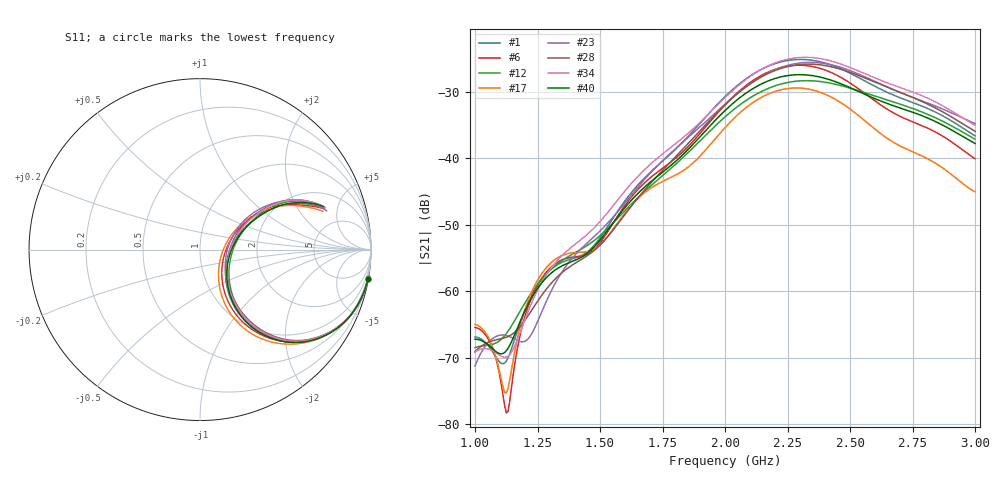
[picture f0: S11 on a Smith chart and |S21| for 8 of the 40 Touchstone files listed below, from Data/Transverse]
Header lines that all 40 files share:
! TOUCHSTONE file generated by CST MICROWAVE STUDIO
! Project name: transverse.cst
! Header version: 2024
! Port assignment regex: !\s*Touchstone port\s*([0-9]+)\s*=\s*(CST MWS port|CST DES external port|CST DES block port)\s*(.+)\s* \(\"(.*)\"\)(\s*mode\s*([0-9]+))?.*
! Touchstone port assignment:
! Touchstone port 1 = CST MWS port 1 ("")
! Touchstone port 2 = CST MWS port 2 ("")
# GHz S MA R 50
Fixed: D = 160, Feed = 2.85625, L = 100, R = 0.384908, Theta = 180, length = 57.125, wave = 114.25
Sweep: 1 GHz to 3 GHz
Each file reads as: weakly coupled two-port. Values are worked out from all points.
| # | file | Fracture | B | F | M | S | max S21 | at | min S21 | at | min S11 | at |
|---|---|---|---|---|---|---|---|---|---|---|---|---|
| 1 | transverse_161.s2p | 1 | 10 | 15 | 20 | 1 | -25.09 dB | 2.3 GHz | -70.9 dB | 1.112 GHz | -15.5 dB | 2.36 GHz |
| 2 | transverse_162.s2p | 5 | 10 | 15 | 20 | 1 | -25.09 dB | 2.303 GHz | -68.6 dB | 1.112 GHz | -15.5 dB | 2.362 GHz |
| 3 | transverse_163.s2p | 1 | 10 | 15 | 20 | 2 | -27.26 dB | 2.3 GHz | -69.1 dB | 1.099 GHz | -14.8 dB | 2.36 GHz |
| 4 | transverse_164.s2p | 5 | 10 | 15 | 20 | 2 | -27.25 dB | 2.3 GHz | -69.1 dB | 1.099 GHz | -14.8 dB | 2.36 GHz |
| 5 | transverse_165.s2p | 1 | 10 | 15 | 30 | 1 | -25.95 dB | 2.294 GHz | -80.1 dB | 1.125 GHz | -16.8 dB | 2.347 GHz |
| 6 | transverse_166.s2p | 5 | 10 | 15 | 30 | 1 | -25.97 dB | 2.294 GHz | -78.4 dB | 1.125 GHz | -16.7 dB | 2.353 GHz |
| 7 | transverse_167.s2p | 1 | 10 | 15 | 30 | 2 | -27.81 dB | 2.281 GHz | -76.4 dB | 1.119 GHz | -16.5 dB | 2.34 GHz |
| 8 | transverse_168.s2p | 5 | 10 | 15 | 30 | 2 | -27.80 dB | 2.281 GHz | -76.1 dB | 1.119 GHz | -16.5 dB | 2.34 GHz |
| 9 | transverse_169.s2p | 1 | 10 | 25 | 10 | 1 | -27.09 dB | 2.294 GHz | -69.2 dB | 1.073 GHz | -14.9 dB | 2.36 GHz |
| 10 | transverse_170.s2p | 5 | 10 | 25 | 10 | 1 | -27.06 dB | 2.296 GHz | -68.9 dB | 1 GHz | -14.9 dB | 2.362 GHz |
| 11 | transverse_171.s2p | 1 | 10 | 25 | 10 | 2 | -28.33 dB | 2.327 GHz | -68.6 dB | 1 GHz | -14.6 dB | 2.366 GHz |
| 12 | transverse_172.s2p | 5 | 10 | 25 | 10 | 2 | -28.29 dB | 2.327 GHz | -68.5 dB | 1 GHz | -14.6 dB | 2.366 GHz |
| 13 | transverse_173.s2p | 1 | 10 | 25 | 20 | 1 | -27.90 dB | 2.274 GHz | -71.4 dB | 1.106 GHz | -15.8 dB | 2.347 GHz |
| 14 | transverse_174.s2p | 5 | 10 | 25 | 20 | 1 | -27.90 dB | 2.276 GHz | -71.2 dB | 1.105 GHz | -15.8 dB | 2.349 GHz |
| 15 | transverse_175.s2p | 1 | 10 | 25 | 20 | 2 | -28.84 dB | 2.287 GHz | -69.5 dB | 1.112 GHz | -15.9 dB | 2.34 GHz |
| 16 | transverse_176.s2p | 5 | 10 | 25 | 20 | 2 | -28.83 dB | 2.287 GHz | -69.5 dB | 1.112 GHz | -15.9 dB | 2.34 GHz |
| 17 | transverse_177.s2p | 1 | 10 | 25 | 30 | 1 | -29.39 dB | 2.287 GHz | -75.4 dB | 1.125 GHz | -17.8 dB | 2.353 GHz |
| 18 | transverse_178.s2p | 5 | 10 | 25 | 30 | 1 | -29.40 dB | 2.289 GHz | -73.5 dB | 1.118 GHz | -17.7 dB | 2.349 GHz |
| 19 | transverse_179.s2p | 1 | 10 | 25 | 30 | 2 | -29.93 dB | 2.294 GHz | -71.6 dB | 1.132 GHz | -18.2 dB | 2.347 GHz |
| 20 | transverse_180.s2p | 5 | 10 | 25 | 30 | 2 | -29.93 dB | 2.294 GHz | -71.5 dB | 1.125 GHz | -18.2 dB | 2.347 GHz |
| 21 | transverse_181.s2p | 1 | 12.5 | 5 | 10 | 1 | -24.81 dB | 2.336 GHz | -70.9 dB | 1 GHz | -16.4 dB | 2.375 GHz |
| 22 | transverse_182.s2p | 5 | 12.5 | 5 | 10 | 1 | -24.88 dB | 2.342 GHz | -71.2 dB | 1 GHz | -16.4 dB | 2.382 GHz |
| 23 | transverse_183.s2p | 1 | 12.5 | 5 | 10 | 2 | -25.53 dB | 2.342 GHz | -71.3 dB | 1 GHz | -16.1 dB | 2.375 GHz |
| 24 | transverse_184.s2p | 5 | 12.5 | 5 | 10 | 2 | -25.48 dB | 2.347 GHz | -71.3 dB | 1 GHz | -16.1 dB | 2.373 GHz |
| 25 | transverse_185.s2p | 1 | 12.5 | 5 | 20 | 1 | -25.35 dB | 2.331 GHz | -69.5 dB | 1 GHz | -16.0 dB | 2.371 GHz |
| 26 | transverse_186.s2p | 5 | 12.5 | 5 | 20 | 1 | -25.40 dB | 2.336 GHz | -69.7 dB | 1 GHz | -15.9 dB | 2.375 GHz |
| 27 | transverse_187.s2p | 1 | 12.5 | 5 | 20 | 2 | -25.80 dB | 2.329 GHz | -69.3 dB | 1 GHz | -15.5 dB | 2.375 GHz |
| 28 | transverse_188.s2p | 5 | 12.5 | 5 | 20 | 2 | -25.80 dB | 2.333 GHz | -69.1 dB | 1 GHz | -15.5 dB | 2.373 GHz |
| 29 | transverse_189.s2p | 1 | 12.5 | 5 | 30 | 1 | -26.49 dB | 2.316 GHz | -69.3 dB | 1.125 GHz | -15.6 dB | 2.349 GHz |
| 30 | transverse_190.s2p | 5 | 12.5 | 5 | 30 | 1 | -26.56 dB | 2.32 GHz | -69.7 dB | 1.125 GHz | -15.5 dB | 2.36 GHz |
| 31 | transverse_191.s2p | 1 | 12.5 | 5 | 30 | 2 | -26.59 dB | 2.316 GHz | -69.4 dB | 1.118 GHz | -15.4 dB | 2.362 GHz |
| 32 | transverse_192.s2p | 5 | 12.5 | 5 | 30 | 2 | -26.59 dB | 2.314 GHz | -70.1 dB | 1.119 GHz | -15.4 dB | 2.36 GHz |
| 33 | transverse_193.s2p | 1 | 12.5 | 15 | 10 | 1 | -24.81 dB | 2.316 GHz | -69.6 dB | 1.125 GHz | -15.4 dB | 2.368 GHz |
| 34 | transverse_194.s2p | 5 | 12.5 | 15 | 10 | 1 | -24.77 dB | 2.32 GHz | -70.0 dB | 1.119 GHz | -15.3 dB | 2.366 GHz |
| 35 | transverse_195.s2p | 1 | 12.5 | 15 | 10 | 2 | -26.89 dB | 2.342 GHz | -70.4 dB | 1 GHz | -14.9 dB | 2.375 GHz |
| 36 | transverse_196.s2p | 5 | 12.5 | 15 | 10 | 2 | -26.85 dB | 2.34 GHz | -70.1 dB | 1 GHz | -14.9 dB | 2.373 GHz |
| 37 | transverse_197.s2p | 1 | 12.5 | 15 | 20 | 1 | -25.14 dB | 2.289 GHz | -70.7 dB | 1.112 GHz | -16.0 dB | 2.342 GHz |
| 38 | transverse_198.s2p | 5 | 12.5 | 15 | 20 | 1 | -25.17 dB | 2.294 GHz | -71.6 dB | 1.112 GHz | -15.9 dB | 2.347 GHz |
| 39 | transverse_199.s2p | 1 | 12.5 | 15 | 20 | 2 | -27.41 dB | 2.303 GHz | -68.8 dB | 1.099 GHz | -15.0 dB | 2.355 GHz |
| 40 | transverse_200.s2p | 5 | 12.5 | 15 | 20 | 2 | -27.39 dB | 2.3 GHz | -69.4 dB | 1.106 GHz | -15.1 dB | 2.353 GHz |
